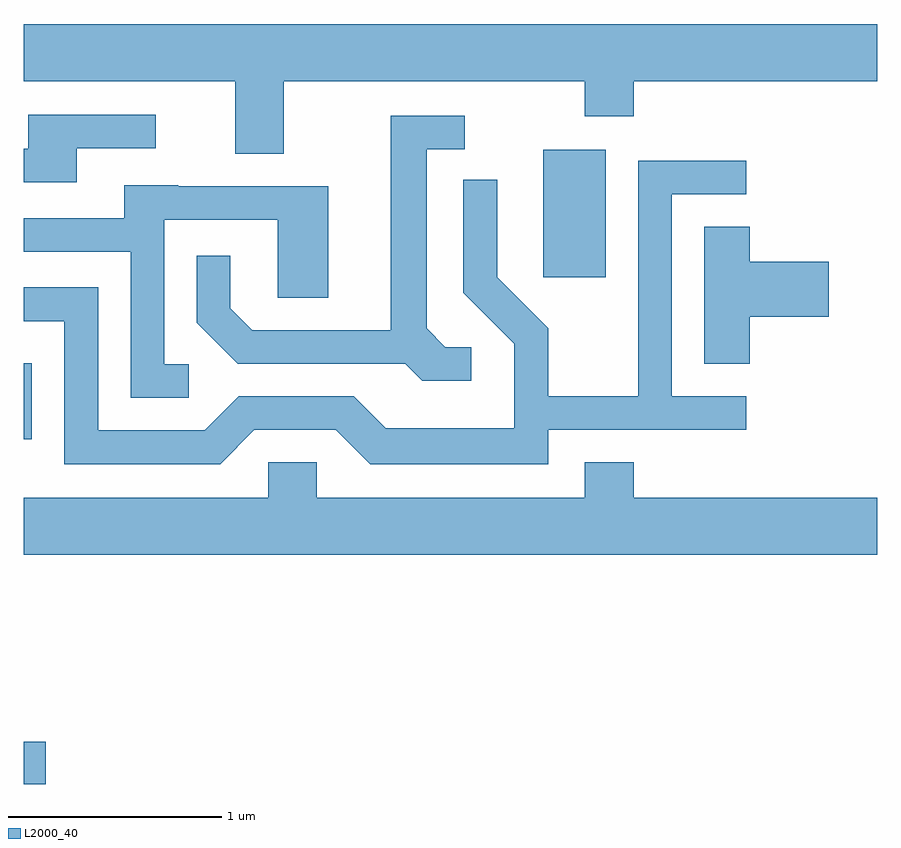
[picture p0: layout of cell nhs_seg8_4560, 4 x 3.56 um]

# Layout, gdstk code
import gdstk
lib = gdstk.Library(unit=1e-6, precision=1e-09)
def R(c, l, rs):  # rectangles x0, y0, x1, y1
    for r in rs: c.add(gdstk.rectangle(r[:2], r[2:], *l))
def P(c, l, *ps):  # polygons
    for p in ps: c.add(gdstk.Polygon(p, *l))
L2000_40 = (2000, 40)

nhs_seg8_4560 = lib.new_cell('nhs_seg8_4560')
R(nhs_seg8_4560, L2000_40, [(321.611,1886.401,321.714,1886.599), (321.611,1888.018,321.649,1888.374), (324.046,1888.776,324.339,1889.374)])
P(nhs_seg8_4560, L2000_40, [(322.829,1889.696),(324.241,1889.696),(324.241,1889.531),(324.469,1889.531),(324.469,1889.696),(325.611,1889.696),(325.611,1889.964),(321.611,1889.964),(321.611,1889.696),(322.601,1889.696),(322.601,1889.356),(322.829,1889.356)],
  [(321.859,1889.381),(322.228,1889.381),(322.228,1889.539),(321.631,1889.539),(321.631,1889.379),(321.611,1889.379),(321.611,1889.221),(321.859,1889.221)],
  [(323.708,1888.449),(323.587,1888.449),(323.499,1888.537),(323.499,1889.376),(323.678,1889.376),(323.678,1889.534),(323.331,1889.534),(323.331,1888.529),(322.682,1888.529),(322.579,1888.632),(322.579,1888.878),(322.421,1888.878),(322.421,1888.564),(322.614,1888.371),(323.399,1888.371),(323.479,1888.291),(323.708,1888.291)],
  [(322.692,1888.061),(323.074,1888.061),(323.234,1887.901),(324.069,1887.901),(324.069,1888.061),(324.998,1888.061),(324.998,1888.219),(324.649,1888.219),(324.649,1889.166),(324.998,1889.166),(324.998,1889.324),(324.491,1889.324),(324.491,1888.219),(324.069,1888.219),(324.069,1888.537),(323.829,1888.777),(323.829,1889.233),(323.671,1889.233),(323.671,1888.704),(323.911,1888.464),(323.911,1888.069),(323.307,1888.069),(323.157,1888.219),(322.619,1888.219),(322.459,1888.059),(321.959,1888.059),(321.959,1888.729),(321.611,1888.729),(321.611,1888.571),(321.801,1888.571),(321.801,1887.901),(322.532,1887.901)],
  [(322.383,1888.369),(322.269,1888.369),(322.269,1889.046),(322.801,1889.046),(322.801,1888.681),(323.039,1888.681),(323.039,1889.204),(322.335,1889.204),(322.335,1889.209),(322.081,1889.209),(322.081,1889.054),(321.611,1889.054),(321.611,1888.896),(322.111,1888.896),(322.111,1888.211),(322.383,1888.211)],
  [(325.014,1888.591),(325.384,1888.591),(325.384,1888.849),(325.014,1888.849),(325.014,1889.014),(324.801,1889.014),(324.801,1888.371),(325.014,1888.371)],
  [(324.241,1887.909),(324.241,1887.744),(322.984,1887.744),(322.984,1887.909),(322.756,1887.909),(322.756,1887.744),(321.611,1887.744),(321.611,1887.476),(325.611,1887.476),(325.611,1887.744),(324.469,1887.744),(324.469,1887.909)])

lib.write_gds('nhs_seg8_4560.gds')
